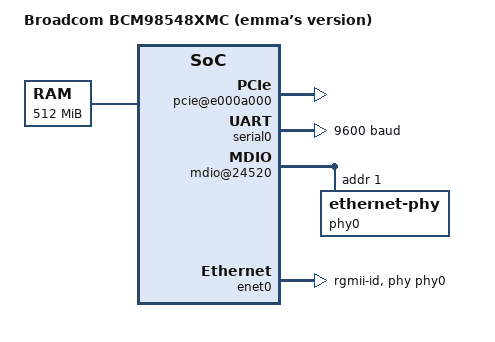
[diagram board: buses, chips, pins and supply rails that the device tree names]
// SPDX-License-Identifier: GPL-2.0-only
/* Register/IRQ/clock values recovered from CFE's live DTB on this board.
 * Deliberately omit flash and PCI/ASIC nodes for the first RAM-only boot.
 */
/dts-v1/;

/ {
	model = "Broadcom BCM98548XMC (emma’s version)";
	compatible = "brcm,bcm98548xmc";
	#address-cells = <1>;
	#size-cells = <1>;
	interrupt-parent = <&mpic>;

	aliases {
		serial0 = &serial0;
		ethernet0 = &enet0;
	};
	chosen {
		stdout-path = "serial0:9600n8";
		/* Preserve CFE's divisor: the UART clock is 399 MHz, not 1.8432 MHz. */
		bootargs = "console=ttyS0,9600 earlycon=uart8250,mmio,0xe0004500";
	};
	memory@0 {
		device_type = "memory";
		reg = <0 0x20000000>;
	};
	reserved-memory {
		#address-cells = <1>;
		#size-cells = <1>;
		ranges;
		bde_dma: dma-pool@1c000000 {
			compatible = "emma,bcm56845-dma-pool";
			reg = <0x1c000000 0x02000000>;
			no-map;
		};
	};
	/* PCI windows/IRQ wiring from CFE; root placement uses modern bindings. */
	pcie@e000a000 {
		device_type = "pci";
		compatible = "fsl,mpc8548-pcie";
		reg = <0xe000a000 0x1000>;
		#address-cells = <3>;
		#size-cells = <2>;
		#interrupt-cells = <1>;
		bus-range = <0 0xff>;
		clock-frequency = <33333333>;
		interrupts = <26 2 0 0>;
		interrupt-map-mask = <0 0 0 7>;
		/* CFE external IRQ 48 is hardware MPIC external IRQ 0. */
		interrupt-map = <0 0 0 1 &mpic 0 1 0 0
		                 0 0 0 2 &mpic 0 1 0 0
		                 0 0 0 3 &mpic 0 1 0 0
		                 0 0 0 4 &mpic 0 1 0 0>;
		ranges = <0x02000000 0 0x60000000 0x60000000 0 0x10000000
		          0x01000000 0 0 0xe8000000 0 0x00100000>;
		dma-ranges = <0x02000000 0 0 0 0 0x20000000>;
	};
	cpus {
		#address-cells = <1>;
		#size-cells = <0>;
		cpu@0 {
			device_type = "cpu";
			compatible = "PowerPC,8548";
			reg = <0>;
			d-cache-line-size = <32>;
			i-cache-line-size = <32>;
			d-cache-size = <32768>;
			i-cache-size = <32768>;
			clock-frequency = <997500000>;
			bus-frequency = <399000000>;
			timebase-frequency = <49875000>;
		};
	};
	soc@e0000000 {
		device_type = "soc";
		compatible = "fsl,mpc8548-immr", "simple-bus";
		#address-cells = <1>;
		#size-cells = <1>;
		ranges = <0 0xe0000000 0x100000>;
		reg = <0xe0000000 0x100000>;
		bus-frequency = <399000000>;

		mpic: interrupt-controller@40000 {
			compatible = "fsl,mpic", "chrp,open-pic";
			device_type = "open-pic";
			reg = <0x40000 0x40000>;
			interrupt-controller;
			#address-cells = <0>;
			#interrupt-cells = <4>;
			big-endian;
			single-cpu-affinity;
		};
		serial0: serial@4500 {
			device_type = "serial";
			compatible = "ns16550";
			reg = <0x4500 0x100>;
			clock-frequency = <399000000>;
			current-speed = <9600>;
			/* Modern MPIC binding: old CFE internal IRQ 26 + 16. */
			interrupts = <42 2 0 0>;
		};
		mdio@24520 {
			compatible = "fsl,gianfar-mdio";
			reg = <0x24520 0x20>;
			#address-cells = <1>;
			#size-cells = <0>;
			phy0: ethernet-phy@1 {
				reg = <1>;
			};
		};
		enet0: ethernet@24000 {
			device_type = "network";
			model = "eTSEC";
			compatible = "gianfar";
			reg = <0x24000 0x1000>;
			/* Modern MPIC binding adds 16 to CFE's internal IRQs. */
			interrupts = <29 2 0 0 30 2 0 0 34 2 0 0>;
			phy-handle = <&phy0>;
			/* RGMII delay mode still needs live link validation. */
			phy-connection-type = "rgmii-id";
			local-mac-address = [00 10 18 48 fb 2c];
		};
	};
};
